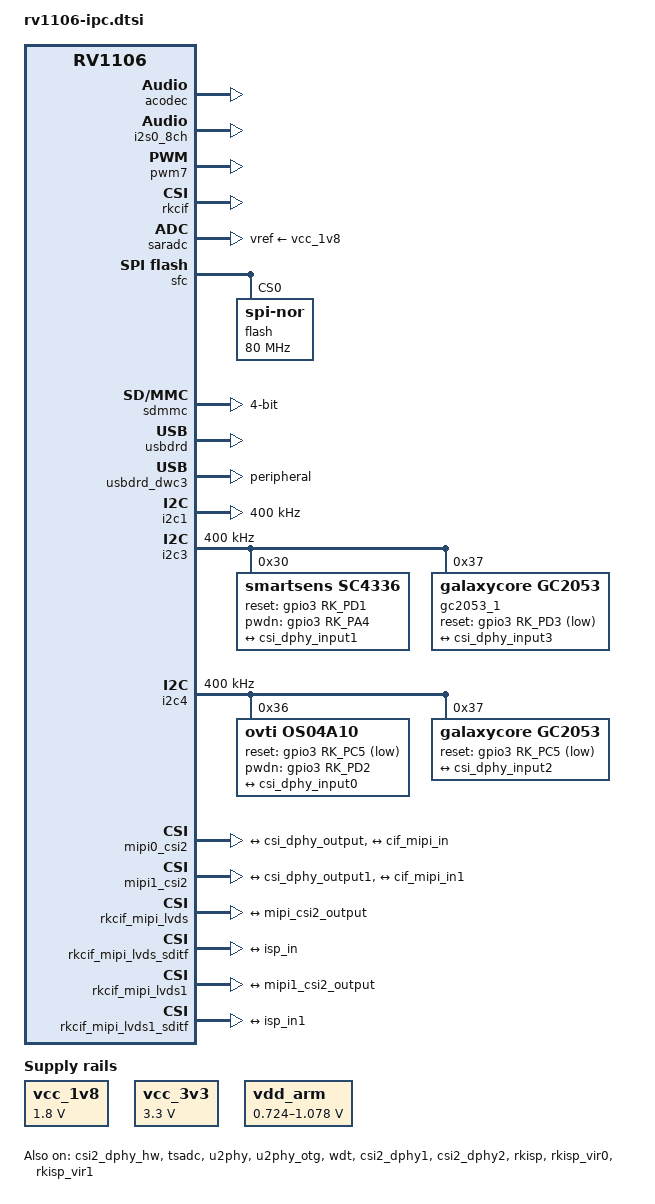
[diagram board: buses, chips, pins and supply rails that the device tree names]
// SPDX-License-Identifier: (GPL-2.0+ OR MIT)
/*
 * Copyright (c) 2022 Rockchip Electronics Co., Ltd.
 */
#include "rv1106-amp.dtsi"

/ {
	chosen {
		bootargs = "earlycon=uart8250,mmio32,0xff4c0000 console=ttyFIQ0 rootwait snd_soc_core.prealloc_buffer_size_kbytes=16 coherent_pool=0";
	};

	acodec_sound: acodec-sound {
		compatible = "simple-audio-card";
		simple-audio-card,name = "rv-acodec";
		simple-audio-card,format = "i2s";
		simple-audio-card,mclk-fs = <256>;
		simple-audio-card,cpu {
			sound-dai = <&i2s0_8ch>;
		};
		simple-audio-card,codec {
			sound-dai = <&acodec>;
		};
	};

	vcc_1v8: vcc-1v8 {
		compatible = "regulator-fixed";
		regulator-name = "vcc_1v8";
		regulator-always-on;
		regulator-boot-on;
		regulator-min-microvolt = <1800000>;
		regulator-max-microvolt = <1800000>;
	};

	vcc_3v3: vcc-3v3 {
		compatible = "regulator-fixed";
		regulator-name = "vcc_3v3";
		regulator-always-on;
		regulator-boot-on;
		regulator-min-microvolt = <3300000>;
		regulator-max-microvolt = <3300000>;
	};

	vdd_arm: vdd-arm {
		compatible = "pwm-regulator";
		pwms = <&pwm0 0 5000 1>;
		regulator-name = "vdd_arm";
		regulator-min-microvolt = <724000>;
		regulator-max-microvolt = <1078000>;
		regulator-init-microvolt = <950000>;
		regulator-always-on;
		regulator-boot-on;
		regulator-settling-time-up-us = <250>;
	};
};

&acodec {
	#sound-dai-cells = <0>;
	pa-ctl-gpios = <&gpio1 RK_PA1 GPIO_ACTIVE_HIGH>;
	status = "okay";
};

&cpu0 {
	cpu-supply = <&vdd_arm>;
};

&csi2_dphy_hw {
	status = "okay";
};



&i2s0_8ch {
	#sound-dai-cells = <0>;
	status = "okay";
};



&pwm7 {
	status = "okay";
	pinctrl-names = "active";
	pinctrl-0 = <&pwm7m1_pins>;
};

&rkcif {
	status = "okay";
};


&saradc {
	status = "okay";
	vref-supply = <&vcc_1v8>;
};

&sfc {
	status = "okay";

	flash@0 {
		compatible = "jedec,spi-nor";
		reg = <0>;
		spi-max-frequency = <80000000>;
		spi-rx-bus-width = <4>;
		spi-tx-bus-width = <1>;
	};
};

&sdmmc {
	max-frequency = <50000000>;
	no-sdio;
	no-mmc;
	bus-width = <4>;
	cap-mmc-highspeed;
	cap-sd-highspeed;
	disable-wp;
	pinctrl-names = "default";
	pinctrl-0 = <&sdmmc0_clk &sdmmc0_cmd &sdmmc0_det &sdmmc0_bus4>;
	status = "okay";
};

&tsadc {
	status = "okay";
};


&u2phy {
	status = "okay";
};

&u2phy_otg {
	rockchip,dis-u2-susphy;
	/delete-property/ vbus-supply;
	status = "okay";
};

&usbdrd {
	status = "okay";
};

&usbdrd_dwc3 {

	dr_mode = "peripheral";
	status = "okay";
};
&wdt {
	status = "okay";
};

&csi2_dphy1 {
	status = "okay";

	ports {
		#address-cells = <1>;
		#size-cells = <0>;

		port@0 {
			reg = <0>;
			#address-cells = <1>;
			#size-cells = <0>;

			csi_dphy_input0: endpoint@1 {
				reg = <1>;
				remote-endpoint = <&os04a10_out>;
				data-lanes = <1 2>;
			};

			csi_dphy_input2: endpoint@2 {
				reg = <2>;
				remote-endpoint = <&gc2053_out>;
				data-lanes = <1 2>;
			};
		};

		port@1 {
			reg = <1>;
			#address-cells = <1>;
			#size-cells = <0>;

			csi_dphy_output: endpoint@0 {
				reg = <0>;
				remote-endpoint = <&mipi_csi2_input>;
			};
		};
	};
};

&csi2_dphy2 {
	status = "okay";

	ports {
		#address-cells = <1>;
		#size-cells = <0>;

		port@0 {
			reg = <0>;
			#address-cells = <1>;
			#size-cells = <0>;

			csi_dphy_input1: endpoint@1 {
				reg = <1>;
				remote-endpoint = <&sc3336_out>;
				data-lanes = <1 2>;
			};

			csi_dphy_input3: endpoint@2 {
				reg = <2>;
				remote-endpoint = <&gc2053_1_out>;
				data-lanes = <1 2>;
			};
		};

		port@1 {
			reg = <1>;
			#address-cells = <1>;
			#size-cells = <0>;

			csi_dphy_output1: endpoint@0 {
				reg = <0>;
				remote-endpoint = <&mipi1_csi2_input>;
			};
		};
	};
};
&i2c1 {
	status = "okay";
	clock-frequency = <400000>;
	pinctrl-names = "default";
	pinctrl-0 = <&i2c1m0_xfer>;
};
&i2c3 {
	status = "okay";
	clock-frequency = <400000>;
	pinctrl-names = "default";
	pinctrl-0 = <&i2c3m2_xfer>;
	
	sc4336: sc4336@30 {
		compatible = "smartsens,sc4336";
		status = "okay";
		reg = <0x30>;
		clocks = <&cru MCLK_REF_MIPI1>;
		clock-names = "xvclk";
		reset-gpios = <&gpio3 RK_PD1 GPIO_ACTIVE_HIGH>;
		pwdn-gpios = <&gpio3 RK_PA4 GPIO_ACTIVE_HIGH>;
		pinctrl-names = "default";
		pinctrl-0 = <&mipi_refclk_out1>;
		rockchip,camera-module-index = <1>;
		rockchip,camera-module-facing = "back";
		rockchip,camera-module-name = "OT01";
		rockchip,camera-module-lens-name = "40IRC_F16";
		port {
			sc3336_out: endpoint {
				remote-endpoint = <&csi_dphy_input1>;
				data-lanes = <1 2>;
			};
		};
	};

	gc2053_1: gc2053_1@37 {
		compatible = "galaxycore,gc2053";
		status = "okay";
		reg = <0x37>;
		clocks = <&cru MCLK_REF_MIPI1>;
		clock-names = "xvclk";
		reset-gpios = <&gpio3 RK_PD3 GPIO_ACTIVE_LOW>;
	        //pwdn-gpios = <&gpio3 RK_PA4 GPIO_ACTIVE_LOW>;
		pinctrl-names = "default";
		pinctrl-0 = <&mipi_refclk_out1>;
		rockchip,camera-module-index = <1>;
		rockchip,camera-module-facing = "back";
		rockchip,camera-module-name = "CMK-OT2274-V10";
		rockchip,camera-module-lens-name = "28IRC-F20";
		port {
			gc2053_1_out: endpoint {
				remote-endpoint = <&csi_dphy_input3>;
				data-lanes = <1 2>;
			};
		};
	};
};

&i2c4 {
	status = "okay";
	clock-frequency = <400000>;
	pinctrl-names = "default";
	pinctrl-0 = <&i2c4m2_xfer>;

	os04a10: os04a10@36 {
		compatible = "ovti,os04a10";
		status = "okay";
		reg = <0x36>;
		clocks = <&cru MCLK_REF_MIPI0>;
		clock-names = "xvclk";
		reset-gpios = <&gpio3 RK_PC5 GPIO_ACTIVE_LOW>;
		pwdn-gpios = <&gpio3 RK_PD2 GPIO_ACTIVE_HIGH>;
		pinctrl-names = "default";
		pinctrl-0 = <&mipi_refclk_out0>;
		rockchip,camera-module-index = <0>;
		rockchip,camera-module-facing = "back";
		rockchip,camera-module-name = "CMK-OT1607-PV1";
		rockchip,camera-module-lens-name = "50IRC-F16";
		port {
			os04a10_out: endpoint {
				remote-endpoint = <&csi_dphy_input0>;
				data-lanes = <1 2>;
			};
		};
	};

	gc2053: gc2053@37 {
		compatible = "galaxycore,gc2053";
		status = "okay";
		reg = <0x37>;
		clocks = <&cru MCLK_REF_MIPI0>;
		clock-names = "xvclk";
		reset-gpios = <&gpio3 RK_PC5 GPIO_ACTIVE_LOW>;
		//pwdn-gpios = <&gpio3 RK_PD2 GPIO_ACTIVE_LOW>;
		pinctrl-names = "default";
		pinctrl-0 = <&mipi_refclk_out0>;
		rockchip,camera-module-index = <0>;
		rockchip,camera-module-facing = "back";
		rockchip,camera-module-name = "CMK-OT2274-V10";
		rockchip,camera-module-lens-name = "28IRC-F20";
		port {
			gc2053_out: endpoint {
				remote-endpoint = <&csi_dphy_input2>;
				data-lanes = <1 2>;
			};
		};
	};


};

&mipi0_csi2 {
	status = "okay";

	ports {
		#address-cells = <1>;
		#size-cells = <0>;

		port@0 {
			reg = <0>;
			#address-cells = <1>;
			#size-cells = <0>;

			mipi_csi2_input: endpoint@1 {
				reg = <1>;
				remote-endpoint = <&csi_dphy_output>;
			};
		};

		port@1 {
			reg = <1>;
			#address-cells = <1>;
			#size-cells = <0>;

			mipi_csi2_output: endpoint@0 {
				reg = <0>;
				remote-endpoint = <&cif_mipi_in>;
			};
		};
	};
};

&mipi1_csi2 {
	status = "okay";

	ports {
		#address-cells = <1>;
		#size-cells = <0>;

		port@0 {
			reg = <0>;
			#address-cells = <1>;
			#size-cells = <0>;

			mipi1_csi2_input: endpoint@1 {
				reg = <1>;
				remote-endpoint = <&csi_dphy_output1>;
			};
		};

		port@1 {
			reg = <1>;
			#address-cells = <1>;
			#size-cells = <0>;

			mipi1_csi2_output: endpoint@0 {
				reg = <0>;
				remote-endpoint = <&cif_mipi_in1>;
			};
		};
	};
};

&rkcif {
	status = "okay";
	pinctrl-names = "default";
	pinctrl-0 = <&mipi_pins>;
};

&rkcif_mipi_lvds {
	status = "okay";

	port {
		/* MIPI CSI-2 endpoint */
		cif_mipi_in: endpoint {
			remote-endpoint = <&mipi_csi2_output>;
		};
	};
};

&rkcif_mipi_lvds_sditf {
	status = "okay";

	port {
		/* MIPI CSI-2 endpoint */
		mipi_lvds_sditf: endpoint {
			remote-endpoint = <&isp_in>;
		};
	};
};

&rkcif_mipi_lvds1 {
	status = "okay";

	port {
		/* MIPI CSI-2 endpoint */
		cif_mipi_in1: endpoint {
			remote-endpoint = <&mipi1_csi2_output>;
		};
	};
};

&rkcif_mipi_lvds1_sditf {
	status = "okay";

	port {
		/* MIPI CSI-2 endpoint */
		mipi_lvds1_sditf: endpoint {
			remote-endpoint = <&isp_in1>;
		};
	};
};

&rkisp {
	status = "okay";
};

&rkisp_vir0 {
	status = "okay";

	port@0 {
		isp_in: endpoint {
			remote-endpoint = <&mipi_lvds_sditf>;
		};
	};
};

&rkisp_vir1 {
	status = "okay";

	port@0 {
		isp_in1: endpoint {
			remote-endpoint = <&mipi_lvds1_sditf>;
		};
	};
};
